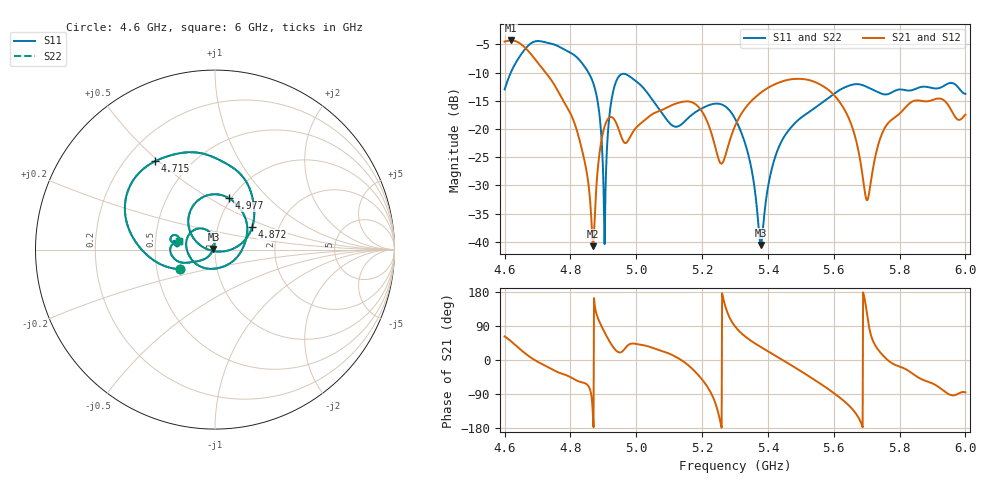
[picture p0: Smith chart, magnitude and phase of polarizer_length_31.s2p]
! TOUCHSTONE file generated by CST MICROWAVE STUDIO
! Date and time: Sun Dec  1 17:16:53 2024
! Project name: test_tuning.cst
! Parameters = {airCoaxOuterDiameter=3; chamferAngle=45; chamferWidth=24; connectorLength=10; drillingHoleDiameter=4.1; feedLength=60; flareDiameter=130; flareLength=70; gratingDistance=0; gratingGap=1.90274; outletLength=30; polarizerLength=124; probe1Diameter=1.3; probe1Distance=14; probe1Length=1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
! Header version: 2024
! Port assignment regex: !\s*Touchstone port\s*([0-9]+)\s*=\s*(CST MWS port|CST DES external port|CST DES block port)\s*(.+)\s* \(\"(.*)\"\)(\s*mode\s*([0-9]+))?.*
! Touchstone port assignment:
! Touchstone port 1 = CST MWS port 1 ("Input1")
! Touchstone port 2 = CST MWS port 2 ("Input2")
# GHz S MA R 50
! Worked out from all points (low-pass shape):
!   1001 points, 4.6 GHz to 6 GHz, reference 50 ohm
!   highest |S21| = -4.32 dB at 4.62 GHz (marker M1); lowest = -40.8 dB at 4.869 GHz (marker M2)
!   |S21| within 3 dB of the highest: start of sweep to 4.688 GHz
!   lowest |S11| = -40.6 dB at 5.378 GHz (marker M3), VSWR 1.02, Z = 49.1 + j0.318 ohm
!   |S11| at or under -10 dB: start of sweep to 4.61888 GHz; 4.855 GHz to end of sweep
!   |S22| runs from -40.6 to -4.4 dB; largest |S21 - S12| = 7.6e-07
!   S11 on the Smith chart (normalised r, x): 4.6 GHz: 0.66, -0.15; 4.715 GHz: 0.32, +0.49; 4.872 GHz: 1.46, +0.39; 4.977 GHz: 0.98, +0.61; 6 GHz: 0.67, +0.07
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4.6  0.2242 -150.9  0.5943 62.2  0.5943 62.2  0.2242 -150.9
4.6196  0.3197 -165.8  0.6083 49.3  0.6083 49.3  0.3197 -165.8
4.7148  0.5945 124.0  0.3428 -11.2  0.3428 -11.2  0.5944 124.0
4.8338  0.3878 59.8  0.06773 -58.7  0.06773 -58.7  0.3878 59.8
4.8688  0.2574 34.3  0.009148 -153.8  0.009148 -153.8  0.2574 34.3
4.8716  0.2432 31.3  0.01204 163.6  0.01204 163.6  0.2431 31.3
4.8884  0.1323 9.3  0.06125 100.4  0.06125 100.4  0.1323 9.3
4.9038  0.009541 -107.2  0.1051 73.0  0.1051 73.0  0.009541 -107.2
4.929  0.2098 135.1  0.1254 35.1  0.1254 35.1  0.2098 135.1
4.9766  0.2965 74.8  0.08004 40.2  0.08004 40.2  0.2965 74.8
5.0676  0.1524 1.2  0.1434 26.6  0.1434 26.6  0.1524 1.2
5.1824  0.1425 -158.9  0.1636 -34.0  0.1636 -34.0  0.1425 -158.9
5.258  0.1654 145.0  0.04926 -173.1  0.04926 -173.1  0.1654 145.0
5.3  0.1235 115.0  0.106 88.8  0.106 88.8  0.1235 115.0
5.3448  0.05241 95.8  0.1709 53.0  0.1709 53.0  0.05241 95.8
5.3784  0.009382 159.8  0.2095 34.2  0.2095 34.2  0.009383 159.8
5.4316  0.06734 -135.7  0.2563 6.8  0.2563 6.8  0.06734 -135.7
5.5338  0.147 -151.8  0.2665 -48.1  0.2665 -48.1  0.147 -151.8
5.6416  0.239 -170.2  0.1321 -116.3  0.1321 -116.3  0.239 -170.2
5.7004  0.2361 172.2  0.02339 125.9  0.02339 125.9  0.2361 172.2
5.7676  0.2049 174.2  0.1147 -2.7  0.1147 -2.7  0.2049 174.2
6  0.2048 166.7  0.134 -85.3  0.134 -85.3  0.2048 166.7
